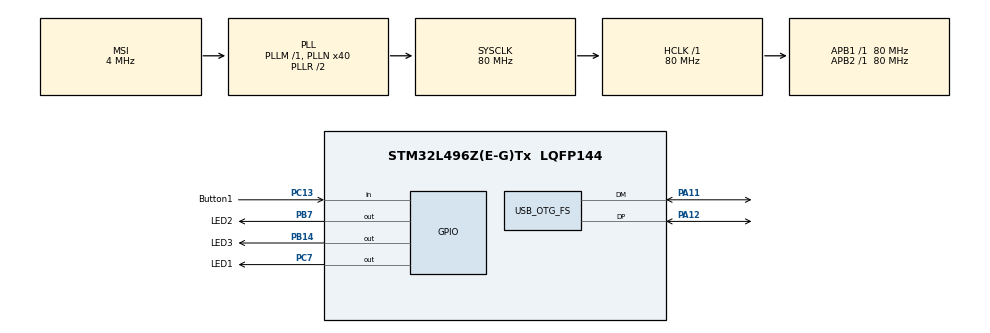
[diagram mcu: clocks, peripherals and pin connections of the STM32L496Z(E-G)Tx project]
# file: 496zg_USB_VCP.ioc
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Mcu.Family=STM32L4
Mcu.Name=STM32L496Z(E-G)Tx
Mcu.Package=LQFP144
NVIC.OTG_FS_IRQn=true\:0\:0\:false\:false\:true\:false\:true
NVIC.PriorityGroup=NVIC_PRIORITYGROUP_4
PA11.Mode=Device_Only
PA11.Signal=USB_OTG_FS_DM
PA12.Mode=Device_Only
PA12.Signal=USB_OTG_FS_DP
PA13\ (JTMS/SWDIO).Mode=Serial_Wire
PA13\ (JTMS/SWDIO).Signal=SYS_JTMS-SWDIO
PA14\ (JTCK/SWCLK).Mode=Serial_Wire
PA14\ (JTCK/SWCLK).Signal=SYS_JTCK-SWCLK
PB14.GPIO_Label=LED3
PB14.Signal=GPIO_Output
PB7.GPIO_Label=LED2
PB7.Signal=GPIO_Output
PC13.GPIO_Label=Button1
PC13.Signal=GPIO_Input
PC7.GPIO_Label=LED1
PC7.Signal=GPIO_Output
ProjectManager.HeapSize=0x200
ProjectManager.StackSize=0x400
ProjectManager.TargetToolchain=STM32CubeIDE
RCC.ADCFreq_Value=48000000
RCC.AHBFreq_Value=80000000
RCC.APB1Freq_Value=80000000
RCC.APB1TimFreq_Value=80000000
RCC.APB2Freq_Value=80000000
RCC.APB2TimFreq_Value=80000000
RCC.CortexFreq_Value=80000000
RCC.HCLKFreq_Value=80000000
RCC.HSE_VALUE=8000000
RCC.HSI48_VALUE=48000000
RCC.HSI_VALUE=16000000
RCC.LSE_VALUE=32768
RCC.MSI_VALUE=4000000
RCC.PLLN=40
RCC.PLLSAI1N=24
RCC.SYSCLKFreq_VALUE=80000000
RCC.SYSCLKSource=RCC_SYSCLKSOURCE_PLLCLK
RCC.USBFreq_Value=48000000
RCC.VCOOutputFreq_Value=160000000
USB_DEVICE.CLASS_NAME_FS=CDC
USB_DEVICE.VirtualMode=Cdc
USB_DEVICE.VirtualModeFS=Cdc_FS
USB_OTG_FS.VirtualMode=Device_Only
VP_USB_DEVICE_VS_USB_DEVICE_CDC_FS.Mode=CDC_FS
board=custom

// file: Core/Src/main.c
/* USER CODE BEGIN Header */
/**
  ******************************************************************************
  * @file           : main.c
  * @brief          : Main program body
  ******************************************************************************
  * @attention
  *
  * Copyright (c) 2022 STMicroelectronics.
  * All rights reserved.
  *
  * This software is licensed under terms that can be found in the LICENSE file
  * in the root directory of this software component.
  * If no LICENSE file comes with this software, it is provided AS-IS.
  *
  ******************************************************************************
  */
/* USER CODE END Header */
#include "main.h"
#include "usb_device.h"
#include "usbd_cdc_if.h"
#include "gpio.h"
#include "string.h"

/* USER CODE BEGIN PV */
#define buffergroesse 64 		//wie viele speicherplätze bekommt der ringbuffer?
volatile uint8_t bufferdata[buffergroesse];
struct fifo_buffer {
    uint8_t data[buffergroesse];
    uint8_t next;
    uint8_t last;
    uint8_t changed;
} fifo_buffer = {{}, 0, 0, 0};

#define clk_time 1 // in millisekunden
#define wait_time 500 // in millisekunden
struct datenpaket{
	char bit[32];
	uint32_t clk;
	uint32_t wait;
} datenpaket = {{}, clk_time, wait_time};
/* USER CODE END PV */

void SystemClock_Config(void);
/* USER CODE BEGIN PFP */

int buffer_was_raus() {
    int save_it;
    // wenn der letzte Speicherpunkt leer ist, dann wird auch nichts rausgebuffert.
    if (fifo_buffer.data[fifo_buffer.last]==0) {
        return 0;
    } else {
        save_it=fifo_buffer.data[fifo_buffer.last];
        fifo_buffer.data[fifo_buffer.last]=0;
        fifo_buffer.last++;
        if (fifo_buffer.last>=buffergroesse) {
            fifo_buffer.last=0;
        }
        return save_it;
    }
}

int buffer_was_rein(uint8_t status) {
    // Eine Null ist nichts, was ich reinbuffern will.
    if (status==0 || status==13) {
        return 0;
    }
    // Wenn der nächste Speicherplatz nicht leer ist, dann wird auch nichts reingebuffert.
    else if	(fifo_buffer.data[fifo_buffer.next]) {
        return 0;
    }
    else {
        // Wir haben freien speicher und Daten, also wird was reingebuffert.

        fifo_buffer.data[fifo_buffer.next]=status;
        fifo_buffer.next++;

        // Wenn fifo_buffer.next größer als der Buffer wird, machen wir mit null weiter.
        if(fifo_buffer.next>=buffergroesse) {
            fifo_buffer.next=0;
        }
        fifo_buffer.changed=1;
        return 1;
    }
}

void check_usb_buffer() {
    // Der komplette USB-Buffer in unseren Ringbuffer übertragen
    for (uint8_t z=0; z<buffergroesse; z++) {
        buffer_was_rein(bufferdata[z]);
        bufferdata[z]=0;
    }
}
/* USER CODE END PFP */

/* USER CODE BEGIN 0 */
void blink_green(int power) {
    HAL_GPIO_WritePin(LED1_GPIO_Port, LED1_Pin, power);
}
void blink_blue(int power) {
	if (power==2){
		HAL_GPIO_TogglePin(LED2_GPIO_Port,LED2_Pin);
	}else{
    	HAL_GPIO_WritePin(LED2_GPIO_Port, LED2_Pin, power);
	}
}
void blink_red(int power) {
    	HAL_GPIO_WritePin(LED3_GPIO_Port, LED3_Pin, power);
}
uint8_t read_input(){
    return HAL_GPIO_ReadPin(Button1_GPIO_Port, Button1_Pin);
}
void show_lifesigns() {
    static uint32_t time;
    if((HAL_GetTick()-time)>1000) {
        time=HAL_GetTick();
        HAL_GPIO_TogglePin(LED3_GPIO_Port, LED3_Pin);
    }
}
uint8_t get_fifo_buffer_length() {
    uint8_t n;
    if (fifo_buffer.next<fifo_buffer.last) {
        n = fifo_buffer.next + buffergroesse - fifo_buffer.last +1;
    } else {
        n = fifo_buffer.next - fifo_buffer.last + 1;
    }
    return n;
}
void print_usb(char string[64]){
	uint16_t stringlength = strlen(string);
	CDC_Transmit_FS((uint8_t*)string,stringlength);
}

#define input_help "help"  	// 1
#define input_calc "calc" 	// 2
#define input_hclk "hclk" 	// 3
#define input_dclk "dclk" // 4
#define input_read "read" 	// 5
#define input_show "show" 	// 6

uint8_t check_command() {

    uint8_t length=get_fifo_buffer_length();
    char answer[length];
    for (uint8_t i=0; i<length; i++) {
        answer[i]=buffer_was_raus();
    }
	// vergleich der eingaben mit den vordefinierten befehlen
    if 	 (!strcmp(answer,input_help)) {
        return 1;
    } else if (!strcmp(answer,input_calc)) {
        return 2;
    } else if (!strcmp(answer,input_hclk)) {
        return 3;
    } else if (!strcmp(answer,input_dclk)) {
        return 4;
    } else if (!strcmp(answer,input_read)) {
        return 5;
    } else if (!strcmp(answer,input_show)) {
        return 6;
    } else {
        return 0;
    }

}
uint8_t half_clktime(){
	// diese funktion prüft, ob der clk durch 2 teilbar ist und wenn ja, teilt es ihn durch 2;
	if (datenpaket.clk%2){
		return 0;
	} else {
		datenpaket.clk/=2;
		return 1;
	}

}
uint8_t double_clktime(){
	if (datenpaket.clk>(1<<30)){
		return 0;
	} else {
		datenpaket.clk*=2;
		return 1;
	}
}

void calculate_data(){
	// hier werden die eingelesenen datenbits zu chars konvertriert
	for (uint8_t j=0;j<32;j++){
		// mach aus True and False '1' und '0'
		if (datenpaket.bit[j]<2){
			datenpaket.bit[j]+=48;
		}
	}
}

void start_reading_Spi(){
	//Diese Funktion soll den SPI_sensor auslesen;
	uint32_t tick_time=HAL_GetTick();
	blink_green(1);
	blink_blue(0);
	while(HAL_GetTick()-tick_time<datenpaket.wait){/*do nothing*/}
	tick_time=HAL_GetTick();
	blink_green(0);
	// timer interrupt!
	for (uint8_t i=0;i<32;i++){
		// 0=aus,1=an,2=switch on/off
		blink_blue(1);
		while(HAL_GetTick()-tick_time<datenpaket.clk){}
		tick_time=HAL_GetTick();
		// schreibe den input an die stelle i von datenpaket;
		datenpaket.bit[i]=read_input();
		while(HAL_GetTick()-tick_time<datenpaket.clk){}
		tick_time=HAL_GetTick();
		blink_blue(0);
		while(HAL_GetTick()-tick_time<datenpaket.clk*2){}
		tick_time=HAL_GetTick();

	}
	blink_green(1);
}
#define usb_delay 1
void write_new_line_usb(uint8_t wait){
	// springt in nächste zeile und an den Anfang. bei 0
	if (wait){
	HAL_Delay(usb_delay);
	}
	print_usb("\n\r");
	if (wait){
	HAL_Delay(usb_delay);
	}
}

void show_commands(){
	// diese Funktion listet alle möglichen Befehlseingaben auf
	print_usb(input_help);
	write_new_line_usb(1);
	print_usb(input_read);//umcasten auf irgerndwas
	write_new_line_usb(1);
	print_usb(input_calc);
	write_new_line_usb(1);
	print_usb(input_show);
	write_new_line_usb(1);
	print_usb(input_hclk);
	write_new_line_usb(1);
	print_usb(input_dclk);
	write_new_line_usb(1);
}

#define response_1 "\n\r these commands are implemented:\n\r"
#define response_2 "\n\r calculate measurement\n\r"
#define response_hclk "\n\r half clocktime \n\r" 		// case 3
#define response_no_hclk "\n\r can't half clocktime \n\r" 	// case 3
#define response_dclk "\n\r double clocktime \n\r"
#define response_no_dclk "\n\r can't double clocktime \n\r"
#define response_show_bits "\n\r received bits:\n\r"

#define response_read "\n\r starting reading routine\n\r"
#define response_done "\n\r done reading\n\r"
#define response_d "\n\r invalid input \n\r try help\n\r"
void show_data(){
	    // Diese funktion soll die gemessenen Daten anzeigen
	    print_usb(response_show_bits);
	    HAL_Delay(usb_delay);
	    print_usb(datenpaket.bit);
	    HAL_Delay(usb_delay);
	    write_new_line_usb(0);
}

void answer_command() {
    uint8_t cmd=check_command();
    if(fifo_buffer.changed) {
        switch (cmd) {
        case 1:
        	print_usb(response_1);
	    show_commands();
            break;
        case 2:
        	print_usb(response_2);
	    calculate_data();
            break;
        case 3:
	    // clk halbieren wenn möglich
	    if (half_clktime()){
	    	print_usb(response_hclk);
	    } else {
	    	print_usb(response_no_hclk);
	    }
	    break;
        case 4:
	    // clk verdoppeln wenn möglich
	    if (double_clktime()){
	    	print_usb(response_dclk);
	    } else {
	    	print_usb(response_no_dclk);
	    }
            break;
        case 5:
        	print_usb(response_read);
            start_reading_Spi();
            print_usb(response_done);
            calculate_data();
            show_data();
            break;
        case 6:
        	show_data();
	    break;
	case 0:
		print_usb(response_d);
            break;
        default:
        	print_usb(response_d);
            break;
        }
    }

    if((fifo_buffer.next==fifo_buffer.last) && (fifo_buffer.changed)) {
        fifo_buffer.changed=0;
    }
}

/* USER CODE END 0 */

int main(void)
{

  /* MCU Configuration--------------------------------------------------------*/

  /* Reset of all peripherals, Initializes the Flash interface and the Systick. */
  HAL_Init();

  /* Configure the system clock */
  SystemClock_Config();

  /* Initialize all configured peripherals */
  MX_GPIO_Init();
  MX_USB_DEVICE_Init();

  /* Infinite loop */
  /* USER CODE BEGIN WHILE */
    while (1)
    {
    	//wait for interrupt (stromsparen)

        // Lebenszeichen durch blinken(rot) der LED3
        show_lifesigns();

        // USB_buffer in Ringbuffer übertragen
        check_usb_buffer();

        // Eingegangene Befehle beantworten
        answer_command();

    /* USER CODE END WHILE */

    }
}

void SystemClock_Config(void)
{
  RCC_OscInitTypeDef RCC_OscInitStruct = {0};
  RCC_ClkInitTypeDef RCC_ClkInitStruct = {0};

  /** Configure the main internal regulator output voltage
  */
  if (HAL_PWREx_ControlVoltageScaling(PWR_REGULATOR_VOLTAGE_SCALE1) != HAL_OK)
  {
    Error_Handler();
  }
  /** Initializes the RCC Oscillators according to the specified parameters
  * in the RCC_OscInitTypeDef structure.
  */
  RCC_OscInitStruct.OscillatorType = RCC_OSCILLATORTYPE_LSE|RCC_OSCILLATORTYPE_MSI;
  RCC_OscInitStruct.LSEState = RCC_LSE_OFF;
  RCC_OscInitStruct.MSIState = RCC_MSI_ON;
  RCC_OscInitStruct.MSICalibrationValue = 0;
  RCC_OscInitStruct.MSIClockRange = RCC_MSIRANGE_6;
  RCC_OscInitStruct.PLL.PLLState = RCC_PLL_ON;
  RCC_OscInitStruct.PLL.PLLSource = RCC_PLLSOURCE_MSI;
  RCC_OscInitStruct.PLL.PLLM = 1;
  RCC_OscInitStruct.PLL.PLLN = 40;
  RCC_OscInitStruct.PLL.PLLP = RCC_PLLP_DIV2;
  RCC_OscInitStruct.PLL.PLLQ = RCC_PLLQ_DIV2;
  RCC_OscInitStruct.PLL.PLLR = RCC_PLLR_DIV2;
  if (HAL_RCC_OscConfig(&RCC_OscInitStruct) != HAL_OK)
  {
    Error_Handler();
  }
  /** Initializes the CPU, AHB and APB buses clocks
  */
  RCC_ClkInitStruct.ClockType = RCC_CLOCKTYPE_HCLK|RCC_CLOCKTYPE_SYSCLK
                              |RCC_CLOCKTYPE_PCLK1|RCC_CLOCKTYPE_PCLK2;
  RCC_ClkInitStruct.SYSCLKSource = RCC_SYSCLKSOURCE_PLLCLK;
  RCC_ClkInitStruct.AHBCLKDivider = RCC_SYSCLK_DIV1;
  RCC_ClkInitStruct.APB1CLKDivider = RCC_HCLK_DIV1;
  RCC_ClkInitStruct.APB2CLKDivider = RCC_HCLK_DIV1;

  if (HAL_RCC_ClockConfig(&RCC_ClkInitStruct, FLASH_LATENCY_4) != HAL_OK)
  {
    Error_Handler();
  }
  /** Enable MSI Auto calibration
  */
  HAL_RCCEx_EnableMSIPLLMode();
}

void Error_Handler(void)
{
    __disable_irq();
    while (1)
    {
    }
}
